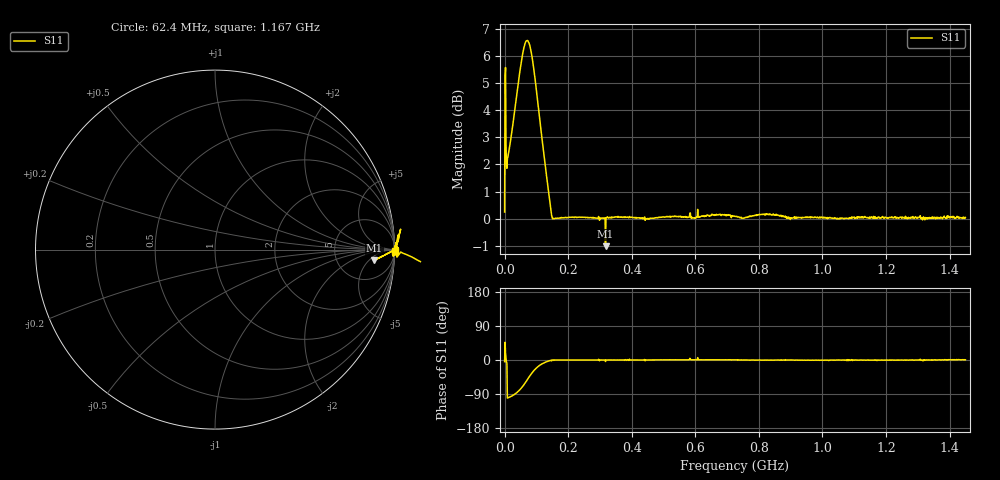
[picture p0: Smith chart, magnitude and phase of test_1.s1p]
! Created with skrf 1.11.0 (http://scikit-rf.org).
# Hz S RI R 50.0
!freq ReS11 ImS11
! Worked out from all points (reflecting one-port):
!   1001 points, 50 kHz to 1.45 GHz, reference 50 ohm
!   lowest |S11| = -1.0 dB at 317.6 MHz (marker M1), VSWR 17.20, Z = 647 - j371 ohm
!   phase of S11 starts at -4 deg and turns +5 deg over the sweep
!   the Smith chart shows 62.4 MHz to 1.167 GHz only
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50000  1.026 -0.0787
8749700  -0.2363 -1.268
1.019965e7  -0.226 -1.279
1.16496e7  -0.2161 -1.295
1.599945e7  -0.1869 -1.346
2.759905e7  -0.0727 -1.515
3.77487e7  0.0985 -1.68
4.64484e7  0.3228 -1.808
5.659805e7  0.6861 -1.889
6.529775e7  1.059 -1.825
7.54474e7  1.445 -1.544
8.269715e7  1.611 -1.26
8.99469e7  1.666 -0.9655
9.86466e7  1.622 -0.6623
1.058964e8  1.544 -0.4685
1.14596e8  1.425 -0.2966
1.247457e8  1.287 -0.1616
1.363453e8  1.144 -0.0669
1.493948e8  1.007 -0.00269
1.812938e8  1.004 -0.00186
3.17589e8  0.8881 -0.0595
3.625375e8  1.008 0.00177
5.437812e8  1.009 0.00763
7.25025e8  1.01 0.006
9.062688e8  1.003 -0.00486
1.087512e9  1.003 -0.00558
1.268756e9  1.001 -0.00337
1.45e9  1.005 0.00959
